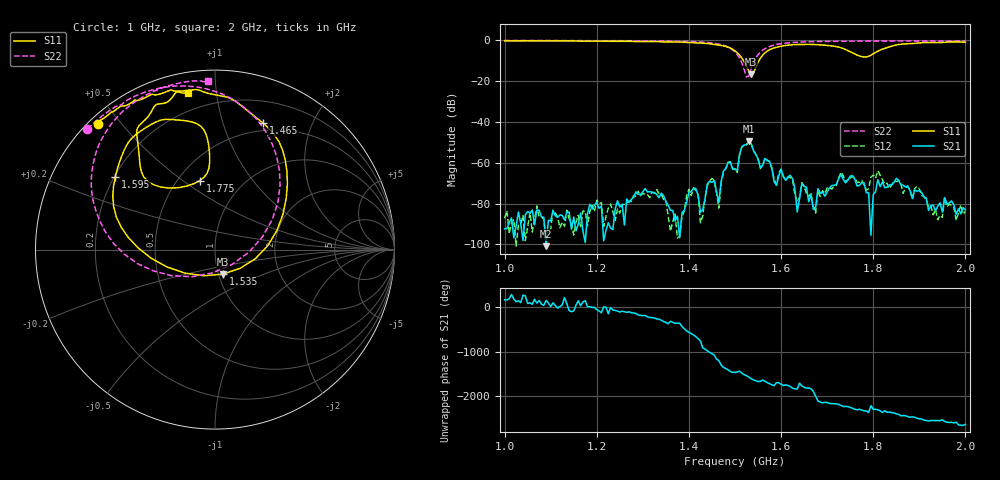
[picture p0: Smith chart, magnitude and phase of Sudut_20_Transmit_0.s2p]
# Hz S RI R 50
! CMT, C1220, 16058040, 17.2.0/1
! Date: 15/08/2018 08:59:30
! Data: Format (Calibration Info)
! Freq  S11: Re/Im (F2)  S21: Re/Im (F2)  S12: Re/Im (F2)  S22: Re/Im (F2)
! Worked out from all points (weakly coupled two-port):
!   201 points, 1 GHz to 2 GHz, reference 50 ohm
!   highest |S21| = -49.56 dB at 1.53 GHz (marker M1); lowest = -100.8 dB at 1.09 GHz (marker M2)
!   lowest |S11| = -16.8 dB at 1.535 GHz (marker M3), VSWR 1.34, Z = 52.6 - j14.7 ohm
!   |S11| at or under -10 dB: 1.518 GHz to 1.552 GHz (34.05 MHz wide, 2.22 % of centre)
!   |S22| runs from -18.0 to -0.2 dB; largest |S21 - S12| = 0.00055
!   S11 on the Smith chart (normalised r, x): 1 GHz: 0.03, +0.43; 1.465 GHz: 0.42, +1.36; 1.535 GHz: 1.05, -0.29; 1.595 GHz: 0.20, +0.31; 1.775 GHz: 0.64, +0.58; 2 GHz: 0.10, +0.84
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1e9  -0.6525 0.7007  -2.25e-05 9.08e-06  1.59e-05 -4.05e-05  -0.7107 0.6718
1.09e9  -0.5786 0.7648  -7.04e-06 5.77e-06  4.89e-06 -1.31e-05  -0.6372 0.7379
1.17e9  -0.4761 0.8123  -7.67e-06 2e-05  5.84e-05 3.07e-05  -0.5588 0.7936
1.335e9  -0.22 0.8829  1.95e-05 0.000138  6.22e-05 0.000165  -0.3263 0.8953
1.39e9  -0.0616 0.8779  -4.66e-05 -5.04e-05  -6.1e-05 -2.52e-05  -0.1848 0.9118
1.41e9  0.0197 0.8592  -1.11e-05 0.000239  -6.08e-06 0.00024  -0.1129 0.9077
1.43e9  0.0983 0.8365  -6.76e-05 2.37e-05  -4.32e-05 -2.47e-05  -0.0208 0.8881
1.45e9  0.176 0.778  0.000282 0.000177  0.000371 0.000176  0.0887 0.8425
1.465e9  0.2675 0.705  -5.83e-05 -8.95e-05  -4.35e-05 -6.43e-05  0.1868 0.7714
1.475e9  0.3303 0.6407  6.79e-05 0.000625  3.23e-05 0.000585  0.2556 0.6972
1.5e9  0.4034 0.3664  0.00062 -0.00029  0.000634 -0.000328  0.3626 0.3579
1.53e9  0.1403 -0.1039  -0.00211 -0.00257  -0.00206 -0.00261  -0.0154 -0.13
1.535e9  0.0447 -0.1367  -0.00288 -0.000625  -0.0029 -0.000618  -0.1299 -0.151
1.555e9  -0.3557 -0.048  -0.00053 0.000556  -0.000502 0.000513  -0.5067 -0.0245
1.595e9  -0.5555 0.4049  -0.000108 0.000467  -0.00015 0.000537  -0.6887 0.401
1.67e9  -0.2898 0.7241  1.91e-07 -7.24e-05  -1.11e-05 -8.53e-05  -0.5512 0.7311
1.73e9  -0.0511 0.6458  0.000378 -0.000354  0.000439 -0.000398  -0.439 0.828
1.775e9  -0.0845 0.3843  -0.000276 -0.000177  -0.000311 -0.000204  -0.3638 0.8708
1.795e9  -0.2554 0.3427  1.1e-05 -1.28e-05  -0.000266 0.000355  -0.3329 0.8855
1.81e9  -0.3755 0.3813  -0.000297 -0.000242  9.73e-05 -0.000631  -0.3093 0.8947
1.835e9  -0.4233 0.5349  -0.00028 5.38e-05  -0.000206 -0.000111  -0.2738 0.9077
2e9  -0.1516 0.8723  -2.01e-05 -6.73e-05  -3.84e-05 -5.22e-05  -0.0384 0.9417
